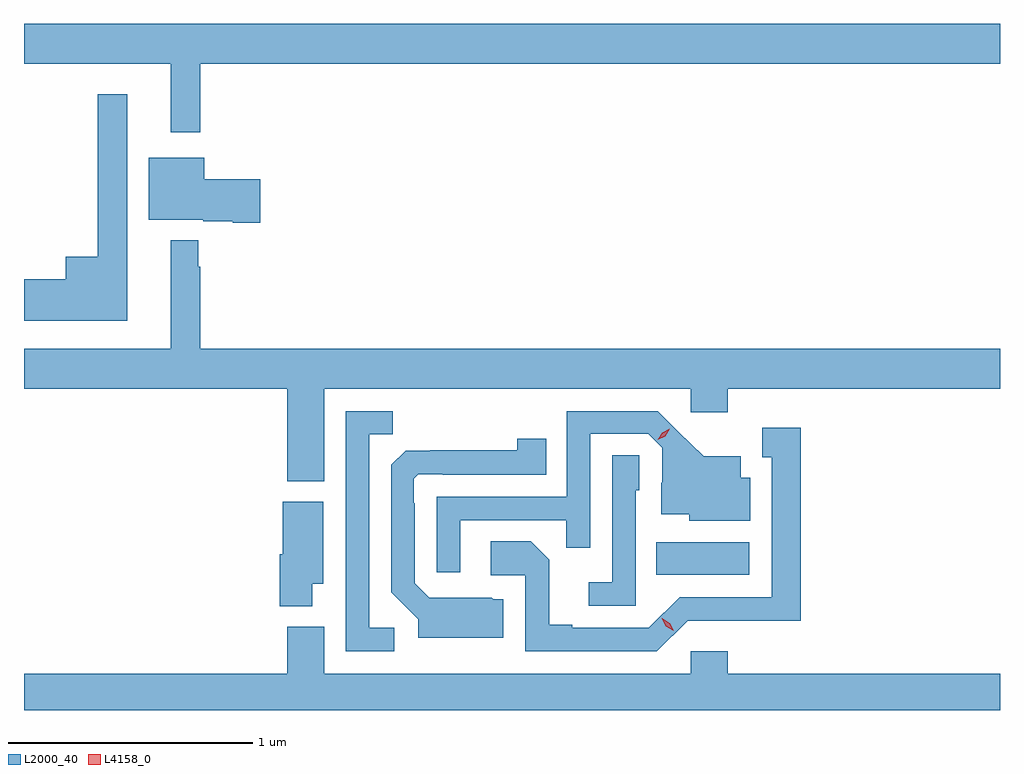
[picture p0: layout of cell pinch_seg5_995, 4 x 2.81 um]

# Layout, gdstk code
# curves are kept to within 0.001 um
import gdstk
lib = gdstk.Library(unit=1e-6, precision=1e-09)
def R(c, l, rs):  # rectangles x0, y0, x1, y1
    for r in rs: c.add(gdstk.rectangle(r[:2], r[2:], *l))
def P(c, l, *ps):  # polygons
    for p in ps: c.add(gdstk.Polygon(p, *l))
L2000_40 = (2000, 40)
L4158_0 = (4158, 0)

pinch_seg5_995 = lib.new_cell('pinch_seg5_995')
R(pinch_seg5_995, L2000_40, [(719.452,833.354,719.833,833.488)])
P(pinch_seg5_995, L2000_40, [(717.583,835.448),(720.86,835.448),(720.86,835.612),(716.86,835.612),(716.86,835.448),(717.461,835.448),(717.461,835.167),(717.583,835.167)],
  [(717.283,835.324),(717.162,835.324),(717.162,834.658),(717.032,834.658),(717.032,834.566),(716.86,834.566),(716.86,834.395),(717.283,834.395)],
  [(717.829,834.975),(717.598,834.975),(717.598,835.063),(717.371,835.063),(717.371,834.809),(717.594,834.809),(717.594,834.803),(717.716,834.803),(717.716,834.797),(717.829,834.797)],
  [(718.09,834.116),(719.592,834.116),(719.592,834.021),(719.744,834.021),(719.744,834.116),(720.86,834.116),(720.86,834.28),(717.583,834.28),(717.583,834.617),(717.575,834.617),(717.575,834.724),(717.461,834.724),(717.461,834.28),(716.86,834.28),(716.86,834.116),(717.938,834.116),(717.938,833.738),(718.09,833.738)],
  [(718.378,833.136),(718.275,833.136),(718.275,833.929),(718.371,833.929),(718.371,834.024),(718.179,834.024),(718.179,833.04),(718.378,833.04)],
  [(718.647,833.577),(719.083,833.577),(719.083,833.464),(719.181,833.464),(719.181,833.931),(719.418,833.931),(719.475,833.874),(719.475,833.732),(719.471,833.732),(719.471,833.603),(719.586,833.603),(719.586,833.576),(719.836,833.576),(719.836,833.752),(719.797,833.752),(719.797,833.839),(719.645,833.839),(719.458,834.024),(719.085,834.024),(719.085,833.673),(718.551,833.673),(718.551,833.364),(718.647,833.364)],
  [(719.58,833.166),(720.043,833.165),(720.043,833.956),(719.885,833.956),(719.885,833.835),(719.924,833.835),(719.924,833.262),(719.547,833.262),(719.421,833.136),(719.107,833.136),(719.107,833.149),(719.013,833.149),(719.013,833.416),(718.937,833.492),(718.773,833.492),(718.773,833.352),(718.914,833.352),(718.914,833.04),(719.454,833.04)],
  [(718.825,833.254),(718.784,833.254),(718.778,833.26),(718.521,833.259),(718.461,833.319),(718.461,833.648),(718.458,833.648),(718.458,833.748),(718.476,833.766),(718.576,833.766),(718.576,833.763),(719,833.763),(719,833.911),(718.882,833.911),(718.882,833.864),(718.424,833.863),(718.365,833.804),(718.365,833.282),(718.475,833.172),(718.475,833.096),(718.825,833.096)],
  [(719.367,833.7),(719.382,833.7),(719.382,833.843),(719.271,833.843),(719.271,833.323),(719.175,833.323),(719.175,833.226),(719.367,833.226)],
  [(718.042,833.318),(718.087,833.318),(718.087,833.653),(717.92,833.653),(717.92,833.439),(717.908,833.439),(717.908,833.225),(718.042,833.225)],
  [(720.86,832.948),(719.744,832.948),(719.744,833.041),(719.592,833.041),(719.592,832.948),(718.09,832.948),(718.09,833.14),(717.938,833.14),(717.938,832.948),(716.86,832.948),(716.86,832.799),(720.86,832.799)])
P(pinch_seg5_995, L4158_0, [(719.522,833.124),(719.491,833.143),(719.474,833.176),(719.474,833.176),(719.475,833.176),(719.506,833.156),(719.523,833.124),(719.523,833.124)],
  [(719.458,833.907),(719.458,833.908),(719.475,833.937),(719.506,833.952),(719.506,833.952),(719.506,833.952),(719.489,833.922),(719.458,833.907)])

lib.write_gds('pinch_seg5_995.gds')
